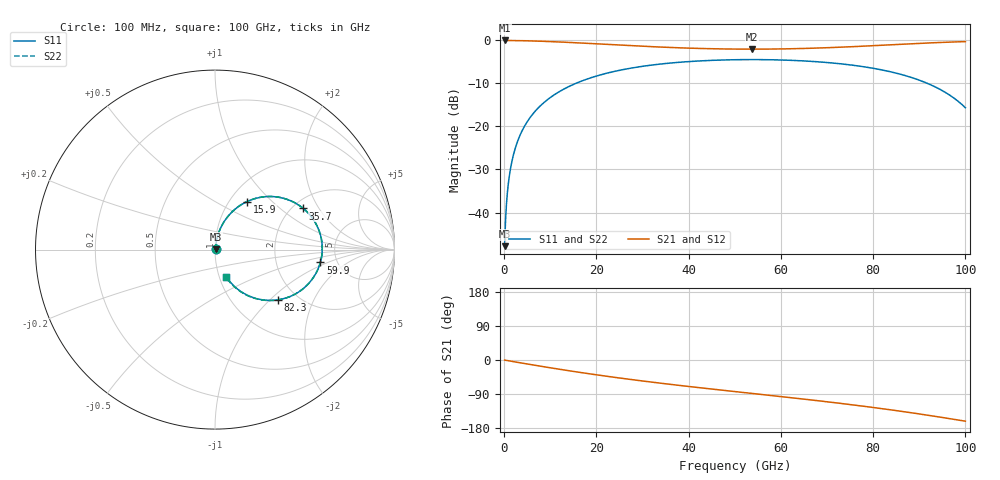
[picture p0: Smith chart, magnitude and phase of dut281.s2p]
! Touchstone file exported from HFSS 2026.1.0
!  File:  C:/ffzhzh/LocalFiles/Ansys_Project_Files/temp_train_RDL_281_1783502030_31944.aedt
!  Generated:  05:15:12 PM Jul  8, 2026
!  Design:  RDL
!  Project:  temp_train_RDL_281_1783502030_31944
! Variables:
!  h_bsmrdl = 2um
!  h_ox = 20um
!  h_rdl = 5um
!  h_sub = 80um
!  h_tmrdl = 3.95um
!  h_tsv = 80um
!  h_via = 3um
!  l_bsmrdl = 300um
!  l_sub = 953.75um
!  l_tmrdl = 553.75um
!  m_sub = 200um
!  pitch = 42.91um
!  r_tsv = 6um
!  s_tmrdl = 10um
!  w_bsmrdl = 18um
!  w_sub = 500um
!  w_tmrdl = 15.96um
!  x_tsv_center1 = 561.73um
!  x_tsv_center2 = 879.73um
!  x_tsv_center3 = 1449.44um
!  x_tsv_center4 = 1767.44um
!  x_tsv_center5 = 2337.15um
!  x_tsv_center6 = 2655.15um
# GHz S MA R 50.000000
! Terminal data exported
! Port[1] = TM_RDL1_1_T1
! Port[2] = TM_RDL1_1_T2
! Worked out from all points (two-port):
!   1000 points, 100 MHz to 100 GHz, reference 50 ohm
!   highest |S21| = -0.03 dB at 100 MHz (marker M1); lowest = -2.0 dB at 53.7 GHz (marker M2)
!   |S21| within 3 dB of the highest: start of sweep to end of sweep
!   lowest |S11| = -47.8 dB at 100 MHz (marker M3), VSWR 1.01, Z = 50.3 + j0.249 ohm
!   |S11| at or under -10 dB: start of sweep to 15.54 GHz; 91.77 GHz to end of sweep
!   |S22| runs from -47.8 to -4.5 dB; largest |S21 - S12| = 1.7e-14
!   S11 on the Smith chart (normalised r, x): 100 MHz: 1.01, +0.00; 15.9 GHz: 1.20, +0.72; 35.7 GHz: 2.27, +1.48; 59.9 GHz: 3.70, -0.81; 82.3 GHz: 1.60, -1.12; 100 GHz: 1.08, -0.34
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0.1  0.004064 37.4  0.9968 -0.2  0.9968 -0.2  0.004064 37.4
! Gamma 0 0 0 0
! Port Impedance 50 0 50 0
0.8  0.0192 76.9  0.996 -1.7  0.996 -1.7  0.0192 76.9
1.4  0.03281 79.9  0.9954 -3.0  0.9954 -3.0  0.03281 79.9
2.4  0.05554 80.2  0.9939 -5.1  0.9939 -5.1  0.05554 80.2
3.9  0.08919 78.3  0.9906 -8.2  0.9906 -8.2  0.08919 78.3
5.9  0.1327 74.7  0.9845 -12.4  0.9845 -12.4  0.1327 74.7
8.6  0.1887 69.6  0.9737 -17.8  0.9737 -17.8  0.1887 69.7
11.9  0.2524 63.5  0.9577 -24.3  0.9577 -24.3  0.2524 63.5
15.9  0.3222 56.3  0.9356 -31.8  0.9356 -31.8  0.3222 56.3
16.8  0.3367 54.7  0.9303 -33.4  0.9303 -33.4  0.3367 54.7
24.6  0.4439 41.6  0.8837 -46.8  0.8837 -46.8  0.4439 41.6
33.4  0.5269 28.2  0.8374 -60.5  0.8374 -60.5  0.5269 28.3
35.7  0.5427 25.0  0.8274 -63.8  0.8274 -63.8  0.5427 25.0
50.1  0.5956 5.7  0.7913 -83.4  0.7913 -83.4  0.5956 5.8
53.7  0.5977 1.1  0.7898 -88.2  0.7898 -88.2  0.5977 1.1
59.9  0.5914 -6.9  0.7944 -96.3  0.7944 -96.3  0.5914 -6.9
66.7  0.5694 -15.9  0.8096 -105.6  0.8096 -105.6  0.5695 -15.9
82.3  0.4485 -38.6  0.8788 -129.0  0.8788 -129.0  0.4485 -38.7
83.4  0.4356 -40.4  0.8849 -130.8  0.8849 -130.8  0.4356 -40.5
92.9  0.2973 -56.1  0.9369 -147.7  0.9369 -147.7  0.2973 -56.4
96.5  0.2327 -62.1  0.9535 -154.6  0.9535 -154.6  0.2327 -62.6
100  0.1648 -67.3  0.9662 -161.5  0.9662 -161.5  0.1646 -68.3
